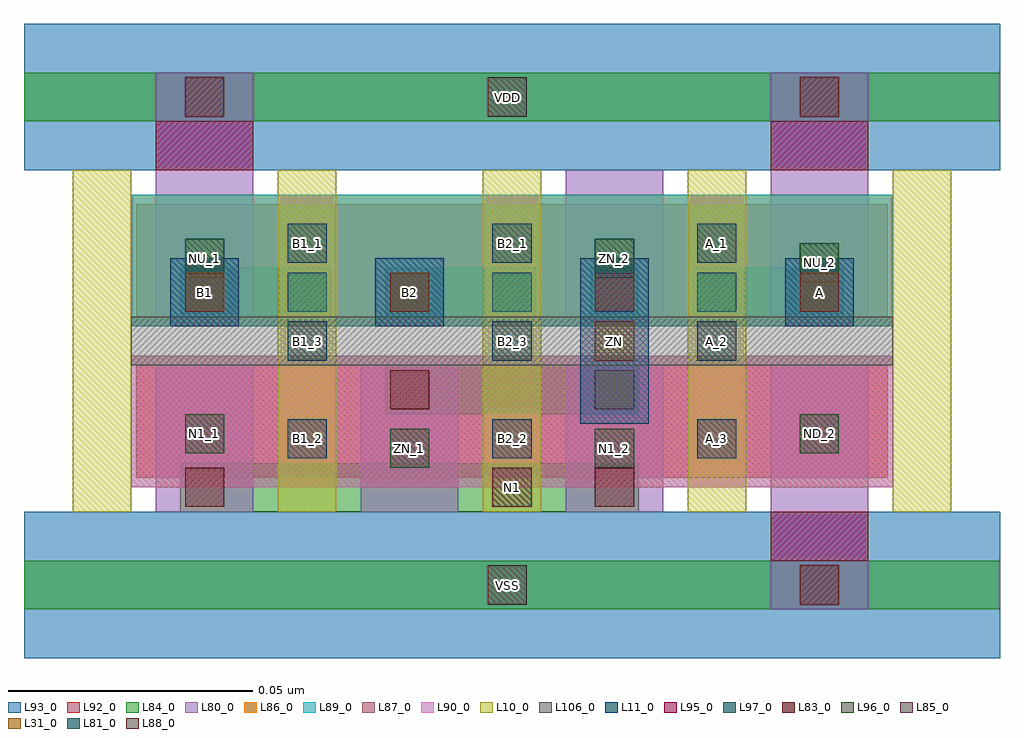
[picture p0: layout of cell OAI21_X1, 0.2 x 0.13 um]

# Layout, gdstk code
import gdstk
lib = gdstk.Library(unit=1e-6, precision=1e-09)
def R(c, l, rs):  # rectangles x0, y0, x1, y1
    for r in rs: c.add(gdstk.rectangle(r[:2], r[2:], *l))
def A(c, l, x, y, w, h, nx, ny, dx, dy):  # array of equal rectangles
    R(c, l, [(x+i*dx, y+j*dy, x+i*dx+w, y+j*dy+h) for i in range(nx) for j in range(ny)])
L10_0 = (10, 0)
L11_0 = (11, 0)
L31_0 = (31, 0)
L80_0 = (80, 0)
L81_0 = (81, 0)
L83_0 = (83, 0)
L84_0 = (84, 0)
L85_0 = (85, 0)
L86_0 = (86, 0)
L87_0 = (87, 0)
L88_0 = (88, 0)
L89_0 = (89, 0)
L90_0 = (90, 0)
L92_0 = (92, 0)
L93_0 = (93, 0)
L95_0 = (95, 0)
L96_0 = (96, 0)
L97_0 = (97, 0)
L106_0 = (106, 0)

oai21_x1 = lib.new_cell('OAI21_X1')
A(oai21_x1, L10_0, -0.027, 0.015, 0.012, 0.07, 5, 1, 0.042, 0)
R(oai21_x1, L11_0, [(0.077,0.033,0.091,0.067), (-0.007,0.053,0.007,0.067), (0.035,0.053,0.049,0.067), (0.119,0.053,0.133,0.067)])
R(oai21_x1, L31_0, [(0.08,0.046,0.088,0.054), (-0.004,0.056,0.004,0.064), (0.038,0.056,0.046,0.064), (0.122,0.056,0.13,0.064)])
A(oai21_x1, L80_0, -0.01, 0.015, 0.02, 0.03, 4, 1, 0.042, 0)
R(oai21_x1, L80_0, [(0.116,-0.005,0.136,0.025), (-0.01,0.055,0.01,0.085), (0.074,0.055,0.094,0.085), (0.116,0.055,0.136,0.085), (-0.01,0.075,0.01,0.105), (0.116,0.075,0.136,0.105)])
A(oai21_x1, L81_0, 0.017, 0.056, 0.008, 0.008, 3, 1, 0.042, 0)
R(oai21_x1, L83_0, [(0.122,-0.004,0.13,0.004), (-0.004,0.016,0.004,0.024), (0.08,0.016,0.088,0.024), (0.038,0.036,0.046,0.044), (0.08,0.056,0.088,0.064), (-0.004,0.096,0.004,0.104), (0.122,0.096,0.13,0.104)])
A(oai21_x1, L84_0, -0.005, 0.015, 0.031, 0.01, 4, 1, 0.021, 0)
R(oai21_x1, L84_0, [(-0.037,-0.005,0.163,0.005), (0.037,0.035,0.068,0.045), (0.058,0.035,0.089,0.045), (-0.005,0.055,0.026,0.065), (0.037,0.055,0.068,0.065), (0.079,0.055,0.089,0.065), (0.1,0.055,0.131,0.065), (-0.037,0.095,0.163,0.105)])
A(oai21_x1, L85_0, -0.004, 0.056, 0.008, 0.008, 4, 1, 0.042, 0)
R(oai21_x1, L85_0, [(0.08,0.036,0.088,0.044)])
R(oai21_x1, L86_0, [(-0.015,0.053,0.141,0.08)])
R(oai21_x1, L87_0, [(-0.015,0.02,0.141,0.047)])
R(oai21_x1, L88_0, [(0.058,-0.004,0.066,0.004), (0.059,0.016,0.067,0.024), (0.058,0.096,0.066,0.104)])
R(oai21_x1, L89_0, [(-0.015,0.053,0.141,0.08)])
R(oai21_x1, L90_0, [(-0.015,0.02,0.141,0.047)])
R(oai21_x1, L92_0, [(-0.014,0.022,0.14,0.045), (-0.014,0.055,0.14,0.078)])
R(oai21_x1, L93_0, [(-0.037,-0.015,0.163,0.015), (-0.037,0.085,0.163,0.115)])
R(oai21_x1, L95_0, [(0.116,0.005,0.136,0.015), (-0.01,0.085,0.01,0.095), (0.116,0.085,0.136,0.095)])
R(oai21_x1, L96_0, [(0.038,0.024,0.046,0.032), (0.08,0.024,0.088,0.032), (-0.004,0.027,0.004,0.035), (0.122,0.027,0.13,0.035), (0.122,0.062,0.13,0.07), (-0.004,0.063,0.004,0.071), (0.08,0.063,0.088,0.071)])
A(oai21_x1, L97_0, 0.017, 0.026, 0.008, 0.008, 3, 3, 0.042, 0.02)
R(oai21_x1, L106_0, [(-0.015,0.045,0.141,0.055)])
oai21_x1.add(gdstk.Label('A', (0.126,0.06), layer=31, texttype=0))
oai21_x1.add(gdstk.Label('B2', (0.042,0.06), layer=31, texttype=0))
oai21_x1.add(gdstk.Label('B1', (0,0.06), layer=31, texttype=0))
oai21_x1.add(gdstk.Label('ZN', (0.084,0.05), layer=31, texttype=0))
oai21_x1.add(gdstk.Label('A_1', (0.105,0.07), layer=97, texttype=0))
oai21_x1.add(gdstk.Label('A_2', (0.105,0.05), layer=97, texttype=0))
oai21_x1.add(gdstk.Label('A_3', (0.105,0.03), layer=97, texttype=0))
oai21_x1.add(gdstk.Label('B1_2', (0.021,0.03), layer=97, texttype=0))
oai21_x1.add(gdstk.Label('B1_3', (0.021,0.05), layer=97, texttype=0))
oai21_x1.add(gdstk.Label('B1_1', (0.021,0.07), layer=97, texttype=0))
oai21_x1.add(gdstk.Label('B2_2', (0.063,0.03), layer=97, texttype=0))
oai21_x1.add(gdstk.Label('B2_3', (0.063,0.05), layer=97, texttype=0))
oai21_x1.add(gdstk.Label('B2_1', (0.063,0.07), layer=97, texttype=0))
oai21_x1.add(gdstk.Label('NU_2', (0.126,0.066), layer=96, texttype=0))
oai21_x1.add(gdstk.Label('ND_2', (0.126,0.031), layer=96, texttype=0))
oai21_x1.add(gdstk.Label('ZN_2', (0.084,0.067), layer=96, texttype=0))
oai21_x1.add(gdstk.Label('NU_1', (0,0.067), layer=96, texttype=0))
oai21_x1.add(gdstk.Label('N1_1', (0,0.031), layer=96, texttype=0))
oai21_x1.add(gdstk.Label('ZN_1', (0.042,0.028), layer=96, texttype=0))
oai21_x1.add(gdstk.Label('N1_2', (0.084,0.028), layer=96, texttype=0))
oai21_x1.add(gdstk.Label('VDD', (0.062,0.1), layer=88, texttype=0))
oai21_x1.add(gdstk.Label('VSS', (0.062,0), layer=88, texttype=0))
oai21_x1.add(gdstk.Label('N1', (0.063,0.02), layer=88, texttype=0))

lib.write_gds('OAI21_X1.gds')
